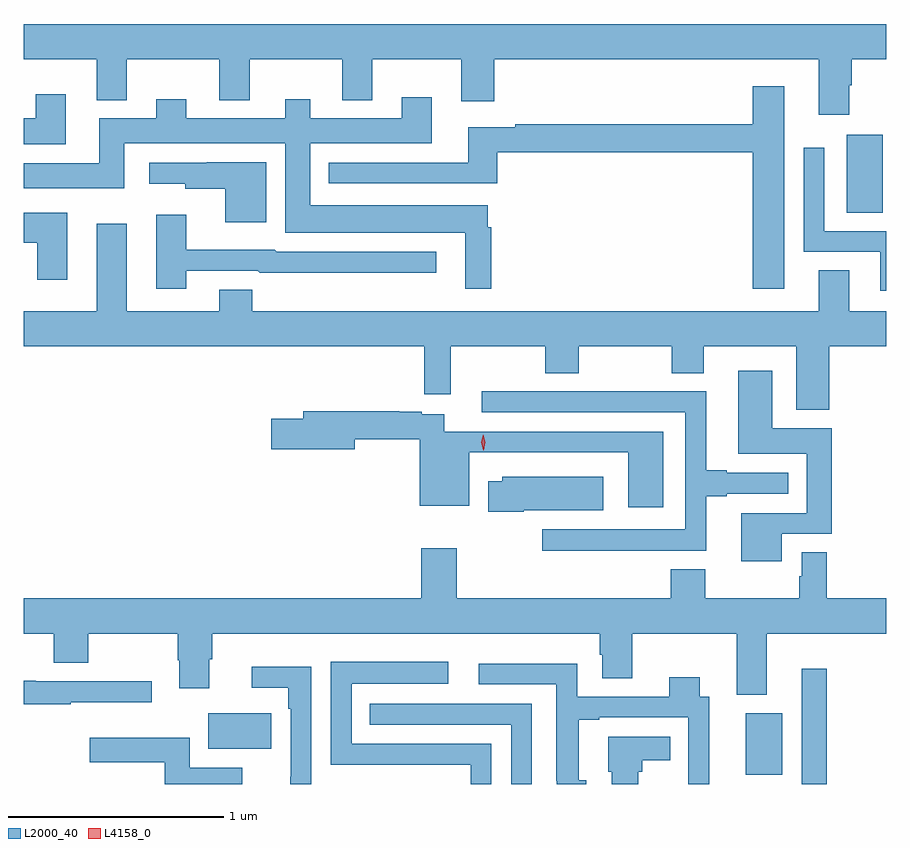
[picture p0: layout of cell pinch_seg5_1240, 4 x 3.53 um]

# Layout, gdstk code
import gdstk
lib = gdstk.Library(unit=1e-6, precision=1e-09)
def R(c, l, rs):  # rectangles x0, y0, x1, y1
    for r in rs: c.add(gdstk.rectangle(r[:2], r[2:], *l))
def P(c, l, *ps):  # polygons
    for p in ps: c.add(gdstk.Polygon(p, *l))
L2000_40 = (2000, 40)
L4158_0 = (4158, 0)

pinch_seg5_1240 = lib.new_cell('pinch_seg5_1240')
R(pinch_seg5_1240, L2000_40, [(487.92,853.398,488.036,853.933), (487.661,853.442,487.831,853.726), (485.167,853.562,485.46,853.726), (488.129,856.048,488.296,856.411)])
P(pinch_seg5_1240, L2000_40, [(488.14,856.64),(488.153,856.64),(488.153,856.76),(488.312,856.76),(488.312,856.924),(484.312,856.924),(484.312,856.76),(484.649,856.76),(484.649,856.571),(484.789,856.571),(484.789,856.76),(485.219,856.76),(485.219,856.571),(485.359,856.571),(485.359,856.76),(485.789,856.76),(485.789,856.571),(485.929,856.571),(485.929,856.76),(486.341,856.76),(486.341,856.566),(486.494,856.566),(486.494,856.76),(488,856.76),(488,856.503),(488.14,856.503)],
  [(487.84,856.636),(487.694,856.636),(487.694,856.459),(486.592,856.459),(486.592,856.446),(486.374,856.446),(486.374,856.281),(485.726,856.281),(485.726,856.185),(486.509,856.185),(486.509,856.33),(487.694,856.33),(487.694,855.696),(487.84,855.696)],
  [(484.507,856.597),(484.367,856.597),(484.367,856.486),(484.312,856.486),(484.312,856.367),(484.507,856.367)],
  [(486.481,855.98),(486.463,855.98),(486.463,856.084),(485.641,856.084),(485.641,856.37),(486.205,856.37),(486.205,856.585),(486.065,856.585),(486.065,856.486),(485.641,856.486),(485.641,856.576),(485.525,856.576),(485.525,856.486),(485.065,856.486),(485.065,856.576),(484.925,856.576),(484.925,856.486),(484.661,856.486),(484.661,856.279),(484.312,856.279),(484.312,856.163),(484.777,856.163),(484.777,856.37),(485.525,856.37),(485.525,855.956),(486.359,855.956),(486.359,855.696),(486.481,855.696)],
  [(488.312,855.963),(488.025,855.963),(488.025,856.351),(487.929,856.351),(487.929,855.867),(488.285,855.867),(488.285,855.686),(488.312,855.686)],
  [(485.437,856.282),(485.161,856.282),(485.161,856.281),(484.893,856.281),(484.893,856.184),(485.061,856.184),(485.061,856.16),(485.246,856.16),(485.246,856.004),(485.437,856.004)],
  [(484.513,856.048),(484.312,856.048),(484.312,855.908),(484.373,855.908),(484.373,855.738),(484.513,855.738)],
  [(485.065,855.78),(485.397,855.78),(485.407,855.77),(486.226,855.77),(486.226,855.867),(485.484,855.867),(485.475,855.876),(485.065,855.876),(485.065,856.039),(484.925,856.039),(484.925,855.696),(485.065,855.696)],
  [(488.048,855.428),(488.312,855.428),(488.312,855.592),(488.14,855.592),(488.14,855.782),(488,855.782),(488,855.592),(485.372,855.592),(485.372,855.691),(485.219,855.691),(485.219,855.592),(484.789,855.592),(484.789,855.997),(484.649,855.997),(484.649,855.592),(484.312,855.592),(484.312,855.428),(486.17,855.428),(486.17,855.207),(486.292,855.207),(486.292,855.428),(486.73,855.428),(486.73,855.304),(486.885,855.304),(486.885,855.428),(487.318,855.428),(487.318,855.304),(487.465,855.304),(487.465,855.428),(487.895,855.428),(487.895,855.135),(488.048,855.135)],
  [(487.828,854.559),(488.06,854.559),(488.06,855.049),(487.783,855.049),(487.783,855.316),(487.625,855.316),(487.625,854.93),(487.944,854.93),(487.944,854.655),(487.64,854.655),(487.64,854.432),(487.828,854.432)],
  [(487.477,854.733),(487.573,854.733),(487.573,854.745),(487.858,854.745),(487.858,854.841),(487.573,854.841),(487.573,854.854),(487.477,854.854),(487.477,855.219),(487.229,855.219),(487.229,855.221),(486.973,855.221),(486.973,855.219),(486.435,855.219),(486.435,855.123),(487.38,855.123),(487.38,854.581),(486.717,854.581),(486.717,854.48),(487.477,854.48)],
  [(487.279,855.033),(486.262,855.033),(486.262,855.114),(486.158,855.114),(486.158,855.126),(486.053,855.126),(486.053,855.127),(485.609,855.127),(485.609,855.093),(485.46,855.093),(485.46,854.951),(485.848,854.951),(485.848,854.998),(486.149,854.998),(486.149,854.69),(486.379,854.69),(486.379,854.937),(487.115,854.937),(487.115,854.682),(487.279,854.682)],
  [(486.631,854.669),(487,854.669),(487,854.824),(486.531,854.824),(486.531,854.803),(486.467,854.803),(486.467,854.662),(486.631,854.662)],
  [(487.759,854.096),(488.312,854.096),(488.312,854.26),(488.036,854.26),(488.036,854.474),(487.92,854.474),(487.92,854.361),(487.908,854.361),(487.908,854.26),(487.473,854.26),(487.473,854.395),(487.313,854.395),(487.313,854.26),(486.32,854.26),(486.32,854.491),(486.155,854.491),(486.155,854.26),(484.312,854.26),(484.312,854.096),(484.451,854.096),(484.451,853.96),(484.611,853.96),(484.611,854.096),(485.026,854.096),(485.026,853.972),(485.033,853.972),(485.033,853.842),(485.173,853.842),(485.173,853.977),(485.186,853.977),(485.186,854.096),(486.983,854.096),(486.983,853.998),(486.995,853.998),(486.995,853.888),(487.135,853.888),(487.135,854.096),(487.619,854.096),(487.619,853.811),(487.759,853.811)],
  [(486.48,853.584),(485.832,853.584),(485.832,853.862),(486.28,853.862),(486.28,853.966),(485.736,853.966),(485.736,853.488),(486.384,853.488),(486.384,853.398),(486.48,853.398)],
  [(486.922,853.415),(486.886,853.415),(486.886,853.695),(486.982,853.695),(486.982,853.707),(487.395,853.707),(487.395,853.482),(487.394,853.482),(487.394,853.398),(487.492,853.398),(487.492,853.803),(487.447,853.803),(487.447,853.894),(487.307,853.894),(487.307,853.803),(486.879,853.803),(486.879,853.957),(486.423,853.957),(486.423,853.86),(486.782,853.86),(486.782,853.414),(486.784,853.414),(486.784,853.398),(486.922,853.398)],
  [(485.646,853.942),(485.37,853.942),(485.37,853.845),(485.538,853.845),(485.538,853.748),(485.55,853.748),(485.55,853.432),(485.548,853.432),(485.548,853.398),(485.646,853.398)],
  [(484.529,853.778),(484.906,853.778),(484.906,853.875),(484.367,853.875),(484.367,853.878),(484.312,853.878),(484.312,853.767),(484.529,853.767)],
  [(486.669,853.77),(485.917,853.77),(485.917,853.674),(486.573,853.674),(486.573,853.398),(486.669,853.398)],
  [(487.162,853.455),(487.18,853.455),(487.18,853.509),(487.31,853.509),(487.31,853.617),(487.022,853.617),(487.022,853.455),(487.04,853.455),(487.04,853.398),(487.162,853.398)],
  [(485.325,853.473),(485.082,853.473),(485.082,853.612),(484.617,853.612),(484.617,853.499),(484.966,853.499),(484.966,853.398),(485.325,853.398)])
P(pinch_seg5_1240, L4158_0, [(486.444,854.947),(486.433,854.983),(486.442,855.019),(486.442,855.019),(486.442,855.019),(486.453,854.984),(486.445,854.947),(486.445,854.947)])

lib.write_gds('pinch_seg5_1240.gds')
